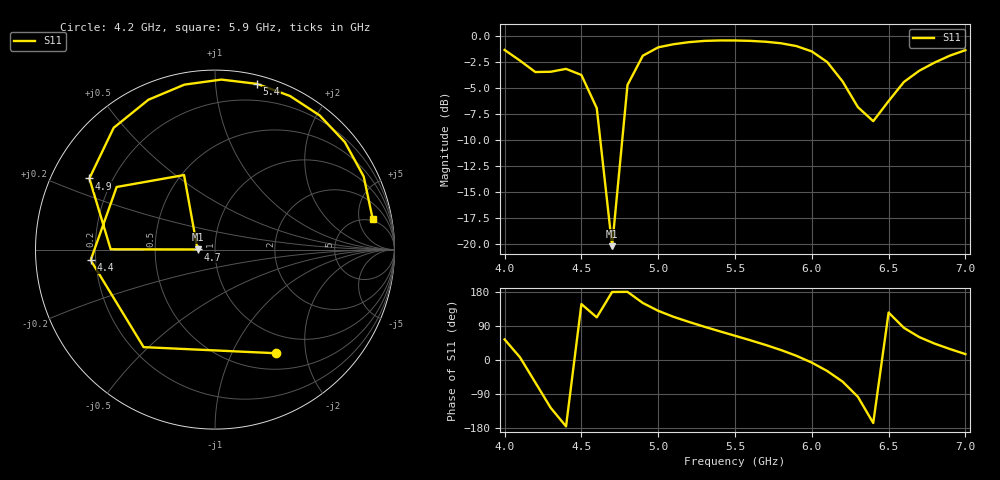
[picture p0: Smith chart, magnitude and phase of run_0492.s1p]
! Touchstone file exported from HFSS 2024.2.0
!  File:  C:/Users/wsak9/Desktop/Sim Fast/Widenad Patch/WP_AI_V1_sweep.aedt
!  Generated:  12:39:22 PM Oct 14, 2026
!  Design:  A1_model
!  Project:  WP_AI_V1_sweep
!  Setup:  Setup1
!  Solution:  Sweep
! Variables:
!  Air_gap = 1.88mm
!  Curve_Amp1 = 3.12
!  Curve_len1 = 1
!  Curve_pos = 11.945mm
!  Extra = 1.57mm
!  H_sub = 0.79mm
!  L_Patch = 19.89mm
!  L_Patch1 = 14.62mm
!  Sx = 1.99mm
!  Sy = 4.31mm
!  WS = 0.3mm
!  W_Patch = 17.64mm
!  W_Patch1 = 13.05mm
!Data is not renormalized
# GHz S MA
! Terminal data exported
! Port[1] = 1
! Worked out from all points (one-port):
!   31 points, 4 GHz to 7 GHz, reference per port
!   lowest |S11| = -20.2 dB at 4.7 GHz (marker M1), VSWR 1.22
!   |S11| at or under -10 dB: 4.623 GHz to 4.766 GHz (142.9 MHz wide, 3.04 % of centre)
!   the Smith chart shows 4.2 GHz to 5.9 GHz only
!   S11 on the Smith chart (normalised r, x): 4.2 GHz: 0.72, -1.51; 4.4 GHz: 0.18, -0.04; 4.7 GHz: 0.82, +0.00; 4.9 GHz: 0.12, +0.26; 5.4 GHz: 0.06, +1.28; 5.9 GHz: 4.50, +7.76
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4  0.8574 54.3
4.1  0.762 7.2
4.2  0.6712 -59.4
4.3  0.6733 -126.2
4.4  0.6952 -175.1
4.5  0.6496 147.5
4.6  0.4498 112.5
4.7  0.09738 179.5
4.8  0.5813 179.8
4.9  0.8044 150.5
5  0.8828 129.8
5.1  0.9137 113.9
5.2  0.9348 100.5
5.4  0.9526 75.8
5.5  0.9524 64.0
5.7  0.9392 39.6
5.8  0.9232 26.2
5.9  0.895 11.1
6  0.8436 -6.9
6.1  0.7504 -29.0
6.2  0.6056 -56.9
6.3  0.455 -97.1
6.4  0.3893 -166.2
6.5  0.4864 125.2
6.6  0.6016 84.8
6.7  0.6812 60.4
6.8  0.7459 43.2
7  0.8552 15.6
